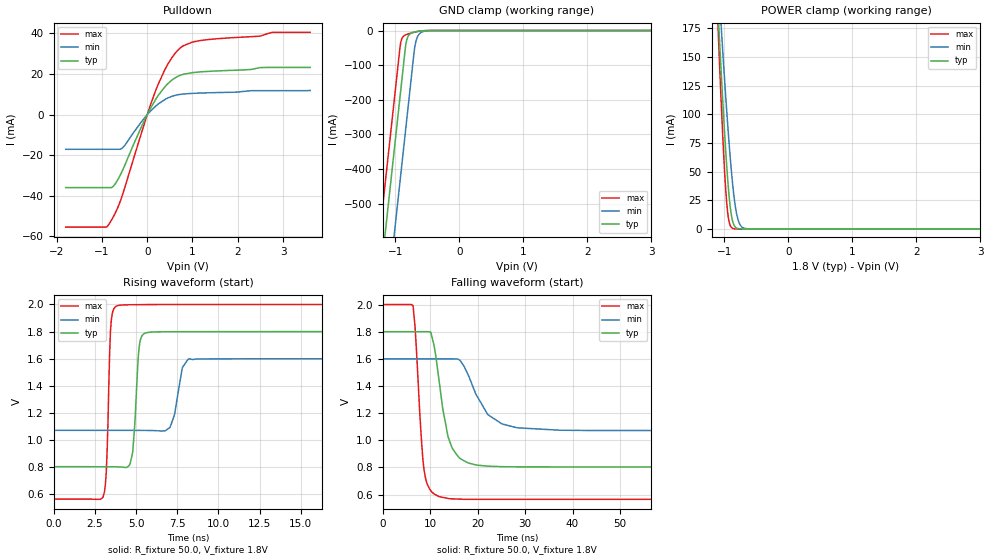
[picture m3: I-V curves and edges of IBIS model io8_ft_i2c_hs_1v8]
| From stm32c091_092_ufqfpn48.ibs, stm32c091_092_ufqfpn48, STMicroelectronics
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[Model]   io8_ft_i2c_hs_1v8
Model_type I/O_open_drain
Polarity   Non-Inverting
Enable   Active-Low
| CAP_THRESHOLD on pad IOFT is "UDTCAPC" :
| Rising=30.0% of vddiom   Falling=70.0% of vddiom
| C_comp min and max val. don't necessarily correlate with the min and max pvt
| but are the smallest and greatest pad capacitance found.
| var   typ   min   max
C_comp   2.19911pF  2.17871pF  2.24975pF
|C_comp_pulldown   2.19911pF  2.17871pF  2.24975pF
Vinl = 800.0mV
Vinh = 1.0V
Vmeas = 900.0mV   | Reference voltage for timing measurements
Cref  = 50.0pF   | Timing specification test load capacitance value
Rref  = 1.0MOhm   | Timing specification test load resistance value
Vref  = 990.0mV   | Timing specification test load voltage
[Model Spec]
| TIME_THRESHOLD on pin ZII2CV12 is "CMOS" :
| Rising=50.0% of vdd   Falling=50.0% of vdd
Vinl 728.70000mV 652.70000mV 817.70000mV
Vinh 1.06430V 953.30000mV 1.16330V
| variable   typ   min   max
[Temperature Range] 25.0 125.0 -40.0
| variable   typ   min   max
[Voltage Range] 1.8V 1.6V 2.0V
| variable   typ   min   max
[POWER Clamp Reference] 1.8V 1.6V 2.0V
| variable   typ   min   max
[GND Clamp Reference] 0V 0V 0V
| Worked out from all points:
|   slope of the pulldown table from 0 to 0.27 V, typ, clamps not added: 26.4 ohm
|   GND clamp passes 1 mA (typ) near -0.58 V on its own axis
|   POWER clamp passes 1 mA (typ) near -0.81 V on its own axis
|   rising waveform, R_fixture 50.0, V_fixture 1.8V: 20-80 % time 275ps typ, 446ps min, 197ps max; typ from 0.804 V to 1.8 V
|   falling waveform, R_fixture 50.0, V_fixture 1.8V: 20-80 % time 2.74ns typ, 4.82ns min, 1.46ns max; typ from 1.8 V to 0.804 V
[POWER Clamp]
-1.8V     1.053A     933.5mA    1.262A
-1.1V     191.1mA    222.7mA    177.1mA
-1.08V    169mA      204.2mA    149.9mA
-1.05V    136.9mA    176.9mA    110.9mA
-1.01V    96.55mA    141.6mA    64.02mA
-980mV    68.91mA    116.4mA    35.23mA
-940mV    37.57mA    84.83mA    10.65mA
-880mV    8.969mA    44.34mA    807.4uA
-830mV    1.697mA    20.19mA    75.79uA
-790mV    394.2uA    8.787mA    11.25uA
-670mV    4.467uA    374.2uA    36.56nA
3.6V      0A         0A         0A
[GND Clamp]
-1.8V     -1.676A    -1.92A     -1.532A
-1.24V    -723.6mA   -967.7mA   -579.5mA
-1.05V    -400.6mA   -644.7mA   -256.5mA
-920mV    -179.6mA   -423.7mA   -38.92mA
-890mV    -128.6mA   -372.7mA   -20.43mA
-850mV    -60.6mA    -304.7mA   -13.42mA
-830mV    -34.09mA   -270.7mA   -11.74mA
-800mV    -16.49mA   -219.7mA   -9.781mA
-690mV    -3.754mA   -41.06mA   -4.242mA
-640mV    -2.187mA   -13.34mA   -2.404mA
-570mV    -808.6uA   -3.187mA   -757.3uA
3.6V      509.6pA    49.06nA    363.2pA
| variable   typ   min   max
[Pullup Reference] 1.8V 1.6V 2.0V
| variable   typ   min   max
[Pulldown Reference] 0V 0V 0V
[Pulldown]
-1.8V     -35.95mA   -17.07mA   -55.42mA
-910mV    -35.95mA   -17.07mA   -55.42mA
-830mV    -35.95mA   -17.07mA   -53.42mA
-720mV    -34.49mA   -17.07mA   -49.08mA
-540mV    -27.18mA   -16.22mA   -39.07mA
-120mV    -5.598mA   -3.255mA   -8.496mA
240mV     9.353mA    5.171mA    14.85mA
490mV     15.96mA    8.523mA    26.14mA
750mV     19.54mA    10.04mA    33.17mA
1.37V     21.33mA    10.77mA    37.03mA
2.78V     23.24mA    11.8mA     40.53mA
3.6V      23.24mA    11.89mA    40.54mA
[Ramp]
dV/dt_r 597.43715mV/273.43487ps 316.59311mV/443.89605ps 860.76618mV/186.30514ps
dV/dt_f 597.4588mV/2.73667ns 316.74236mV/4.82436ns 860.78199mV/1.45705ns
R_load = 50.0
| Removed startup time: 0s 0s 0s  .
| Removed end time: 29.7ns.
[Rising Waveform]
R_fixture   = 50.0
V_fixture   = 1.8V
V_fixture_min = 1.6V
V_fixture_max = 2.0V
0s        804.2mV    1.072V     565.4mV
3ns       803.7mV    1.072V     579.2mV
3.2ns     803.6mV    1.072V     767.8mV
3.45ns    803.6mV    1.072V     1.801V
3.85ns    803.2mV    1.072V     1.99V
4.75ns    881.8mV    1.072V     1.998V
5.2ns     1.694V     1.072V     1.999V
5.6ns     1.791V     1.072V     1.999V
8.2ns     1.8V       1.6V       2V
29.7ns    1.8V       1.6V       2V
| Removed startup time: 0s 0s 0s  .
| Removed end time: 199.775ns.
[Falling Waveform]
R_fixture   = 50.0
V_fixture   = 1.8V
V_fixture_min = 1.6V
V_fixture_max = 2.0V
0s        1.8V       1.6V       2V
6.425ns   1.8V       1.6V       1.992V
8.7ns     1.8V       1.6V       793.6mV
10.15ns   1.796V     1.6V       629.3mV
11.93ns   1.433V     1.6V       584.9mV
14.65ns   943mV      1.6V       569mV
16.8ns    856.1mV    1.564V     566.2mV
21.9ns    810.4mV    1.205V     565.4mV
37.4ns    804.2mV    1.074V     565.4mV
199.8ns   804.2mV    1.072V     565.4mV
